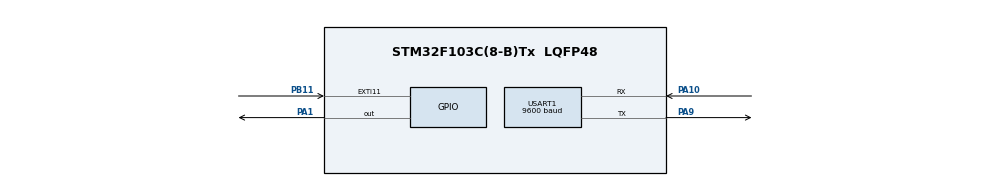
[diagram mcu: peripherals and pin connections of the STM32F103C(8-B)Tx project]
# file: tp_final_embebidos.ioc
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Mcu.Family=STM32F1
Mcu.Name=STM32F103C(8-B)Tx
Mcu.Package=LQFP48
NVIC.EXTI15_10_IRQn=true\:0\:0\:false\:false\:true\:true\:true\:true
NVIC.PriorityGroup=NVIC_PRIORITYGROUP_4
NVIC.USART1_IRQn=true\:0\:0\:false\:false\:true\:true\:true\:true
PA1.Signal=GPIO_Output
PA10.Mode=Asynchronous
PA10.Signal=USART1_RX
PA13.Mode=Serial_Wire
PA13.Signal=SYS_JTMS-SWDIO
PA14.Mode=Serial_Wire
PA14.Signal=SYS_JTCK-SWCLK
PA9.Mode=Asynchronous
PA9.Signal=USART1_TX
PB11.GPIO_ModeDefaultEXTI=GPIO_MODE_IT_FALLING
PB11.Signal=GPXTI11
ProjectManager.HeapSize=0x200
ProjectManager.StackSize=0x400
ProjectManager.TargetToolchain=STM32CubeIDE
RCC.APB1Freq_Value=8000000
RCC.APB2Freq_Value=8000000
USART1.BaudRate=9600
USART1.VirtualMode=VM_ASYNC
board=custom

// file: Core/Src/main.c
/* USER CODE BEGIN Header */
/**
  ******************************************************************************
  * @file           : main.c
  * @brief          : Main program body
  ******************************************************************************
  * @attention
  *
  * Copyright (c) 2022 STMicroelectronics.
  * All rights reserved.
  *
  * This software is licensed under terms that can be found in the LICENSE file
  * in the root directory of this software component.
  * If no LICENSE file comes with this software, it is provided AS-IS.
  *
  ******************************************************************************
  */
/* USER CODE END Header */
#include "main.h"

 UART_HandleTypeDef huart1;

/* USER CODE BEGIN PV */
uint8_t rxData;
uint8_t data[5];

void HAL_UART_TxCpltCallback(UART_HandleTypeDef *huart)
{
   HAL_UART_Transmit_IT(&huart1, data, sizeof (data));
}
/* USER CODE END PV */

void SystemClock_Config(void);
static void MX_GPIO_Init(void);
static void MX_USART1_UART_Init(void);

int main(void)
{
  /* USER CODE BEGIN 1 */
	/*for (int i=0; i<2000; i++)
	 {
	   data[i] = 'x';
	 }
	 */
	data[0] = 'c';
	data[1] = 'a';
	data[2] = 's';
	data[3] = 'i';

	HAL_UART_Transmit_IT(&huart1, data, sizeof (data));
  /* USER CODE END 1 */

  /* MCU Configuration--------------------------------------------------------*/

  /* Reset of all peripherals, Initializes the Flash interface and the Systick. */
  HAL_Init();

  /* Configure the system clock */
  SystemClock_Config();

  /* Initialize all configured peripherals */
  MX_GPIO_Init();
  MX_USART1_UART_Init();
  /* USER CODE BEGIN 2 */
  HAL_UART_Receive_IT(&huart1,&rxData,1); // Enabling interrupt receive

  /* USER CODE END 2 */

  /* Infinite loop */
  while (1)
  {
	  HAL_UART_Transmit_IT(&huart1, data, sizeof (data));
	  HAL_Delay (250);
  }
}

void SystemClock_Config(void)
{
  RCC_OscInitTypeDef RCC_OscInitStruct = {0};
  RCC_ClkInitTypeDef RCC_ClkInitStruct = {0};

  /** Initializes the RCC Oscillators according to the specified parameters
  * in the RCC_OscInitTypeDef structure.
  */
  RCC_OscInitStruct.OscillatorType = RCC_OSCILLATORTYPE_HSI;
  RCC_OscInitStruct.HSIState = RCC_HSI_ON;
  RCC_OscInitStruct.HSICalibrationValue = RCC_HSICALIBRATION_DEFAULT;
  RCC_OscInitStruct.PLL.PLLState = RCC_PLL_NONE;
  if (HAL_RCC_OscConfig(&RCC_OscInitStruct) != HAL_OK)
  {
    Error_Handler();
  }

  /** Initializes the CPU, AHB and APB buses clocks
  */
  RCC_ClkInitStruct.ClockType = RCC_CLOCKTYPE_HCLK|RCC_CLOCKTYPE_SYSCLK
                              |RCC_CLOCKTYPE_PCLK1|RCC_CLOCKTYPE_PCLK2;
  RCC_ClkInitStruct.SYSCLKSource = RCC_SYSCLKSOURCE_HSI;
  RCC_ClkInitStruct.AHBCLKDivider = RCC_SYSCLK_DIV1;
  RCC_ClkInitStruct.APB1CLKDivider = RCC_HCLK_DIV1;
  RCC_ClkInitStruct.APB2CLKDivider = RCC_HCLK_DIV1;

  if (HAL_RCC_ClockConfig(&RCC_ClkInitStruct, FLASH_LATENCY_0) != HAL_OK)
  {
    Error_Handler();
  }
}

static void MX_USART1_UART_Init(void)
{

  huart1.Instance = USART1;
  huart1.Init.BaudRate = 9600;
  huart1.Init.WordLength = UART_WORDLENGTH_8B;
  huart1.Init.StopBits = UART_STOPBITS_1;
  huart1.Init.Parity = UART_PARITY_NONE;
  huart1.Init.Mode = UART_MODE_TX_RX;
  huart1.Init.HwFlowCtl = UART_HWCONTROL_NONE;
  huart1.Init.OverSampling = UART_OVERSAMPLING_16;
  if (HAL_UART_Init(&huart1) != HAL_OK)
  {
    Error_Handler();
  }

}

static void MX_GPIO_Init(void)
{
  GPIO_InitTypeDef GPIO_InitStruct = {0};

  /* GPIO Ports Clock Enable */
  __HAL_RCC_GPIOA_CLK_ENABLE();

  /*Configure GPIO pin Output Level */
  HAL_GPIO_WritePin(GPIOA, GPIO_PIN_1, GPIO_PIN_RESET);

  /*Configure GPIO pin : PA1 */
  GPIO_InitStruct.Pin = GPIO_PIN_1;
  GPIO_InitStruct.Mode = GPIO_MODE_OUTPUT_PP;
  GPIO_InitStruct.Pull = GPIO_NOPULL;
  GPIO_InitStruct.Speed = GPIO_SPEED_FREQ_LOW;
  HAL_GPIO_Init(GPIOA, &GPIO_InitStruct);

}

/* USER CODE BEGIN 4 */
void HAL_UART_RxCpltCallback(UART_HandleTypeDef *huart)
{
  if(huart->Instance==USART1)
  {
    if(rxData==78) // Ascii value of 'N' is 78 (N for NO)
    {
    	HAL_GPIO_WritePin(GPIOA, GPIO_PIN_1, 0);
    }
    else if (rxData==89) // Ascii value of 'Y' is 89 (Y for YES)
    {
    	HAL_GPIO_WritePin(GPIOA, GPIO_PIN_1, 1);
    }
    HAL_UART_Receive_IT(&huart1,&rxData,1); // Enabling interrupt receive again
  }
}

/* USER CODE END 4 */

void Error_Handler(void)
{
  __disable_irq();
  while (1)
  {
  }
}
